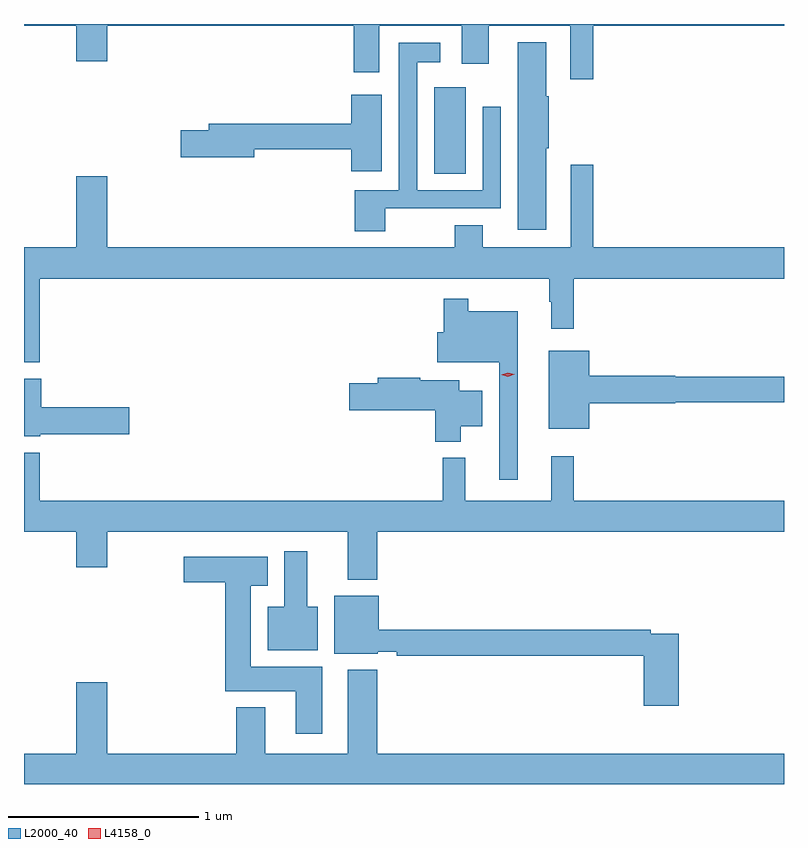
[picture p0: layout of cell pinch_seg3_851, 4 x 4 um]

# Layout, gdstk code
import gdstk
lib = gdstk.Library(unit=1e-6, precision=1e-09)
def R(c, l, rs):  # rectangles x0, y0, x1, y1
    for r in rs: c.add(gdstk.rectangle(r[:2], r[2:], *l))
def P(c, l, *ps):  # polygons
    for p in ps: c.add(gdstk.Polygon(p, *l))
L2000_40 = (2000, 40)
L4158_0 = (4158, 0)

pinch_seg3_851 = lib.new_cell('pinch_seg3_851')
R(pinch_seg3_851, L2000_40, [(694.364,685.483,694.531,685.939)])
P(pinch_seg3_851, L2000_40, [(695.203,686.264),(696.206,686.264),(696.206,686.272),(692.206,686.272),(692.206,686.264),(692.48,686.264),(692.48,686.076),(692.644,686.076),(692.644,686.264),(693.941,686.264),(693.941,686.019),(694.075,686.019),(694.075,686.264),(694.511,686.264),(694.511,686.064),(694.651,686.064),(694.651,686.264),(695.081,686.264),(695.081,685.98),(695.203,685.98)],
  [(694.954,685.618),(694.967,685.618),(694.967,685.892),(694.954,685.892),(694.954,686.176),(694.805,686.176),(694.805,685.188),(694.954,685.188)],
  [(694.107,685.301),(694.372,685.301),(694.372,685.302),(694.716,685.302),(694.716,685.837),(694.62,685.837),(694.62,685.398),(694.275,685.398),(694.275,686.072),(694.396,686.072),(694.396,686.173),(694.179,686.173),(694.179,685.398),(693.947,685.398),(693.947,685.182),(694.107,685.182)],
  [(694.09,685.9),(693.929,685.9),(693.929,685.748),(693.179,685.748),(693.179,685.712),(693.03,685.712),(693.03,685.57),(693.418,685.57),(693.418,685.612),(693.929,685.612),(693.929,685.497),(694.09,685.497)],
  [(692.288,684.932),(694.971,684.932),(694.971,684.809),(694.982,684.809),(694.982,684.669),(695.099,684.669),(695.099,684.932),(696.206,684.932),(696.206,685.096),(695.201,685.096),(695.201,685.531),(695.084,685.531),(695.084,685.096),(694.621,685.096),(694.621,685.213),(694.474,685.213),(694.474,685.096),(692.644,685.096),(692.644,685.471),(692.48,685.471),(692.48,685.096),(692.206,685.096),(692.206,684.491),(692.288,684.491)],
  [(694.804,684.76),(694.543,684.76),(694.543,684.826),(694.414,684.826),(694.414,684.649),(694.38,684.649),(694.38,684.491),(694.707,684.491),(694.707,683.874),(694.804,683.874)],
  [(695.182,684.275),(695.634,684.275),(695.634,684.28),(696.206,684.28),(696.206,684.416),(695.634,684.416),(695.634,684.422),(695.182,684.422),(695.182,684.553),(694.967,684.553),(694.967,684.143),(695.182,684.143)],
  [(694.504,684.155),(694.618,684.155),(694.618,684.343),(694.498,684.343),(694.498,684.397),(694.292,684.397),(694.292,684.41),(694.067,684.41),(694.067,684.38),(693.918,684.38),(693.918,684.238),(694.37,684.238),(694.37,684.074),(694.504,684.074)],
  [(692.292,684.112),(692.761,684.112),(692.761,684.254),(692.296,684.254),(692.296,684.406),(692.206,684.406),(692.206,684.101),(692.292,684.101)],
  [(694.064,683.6),(696.206,683.6),(696.206,683.764),(695.099,683.764),(695.099,683.998),(694.982,683.998),(694.982,683.764),(694.529,683.764),(694.529,683.989),(694.411,683.989),(694.411,683.764),(692.288,683.764),(692.288,684.016),(692.206,684.016),(692.206,683.6),(692.48,683.6),(692.48,683.412),(692.644,683.412),(692.644,683.6),(693.911,683.6),(693.911,683.348),(694.064,683.348)],
  [(693.751,683.206),(693.697,683.206),(693.697,683.497),(693.575,683.497),(693.575,683.206),(693.488,683.206),(693.488,682.976),(693.751,682.976)],
  [(693.775,682.888),(693.4,682.888),(693.4,683.315),(693.49,683.315),(693.49,683.467),(693.048,683.467),(693.048,683.333),(693.266,683.333),(693.266,682.76),(693.635,682.76),(693.635,682.536),(693.775,682.536)],
  [(695.651,683.064),(695.504,683.064),(695.504,683.084),(694.072,683.084),(694.072,683.263),(693.839,683.263),(693.839,682.958),(694.068,682.958),(694.068,682.968),(694.168,682.968),(694.168,682.948),(695.468,682.948),(695.468,682.683),(695.651,682.683)],
  [(696.206,682.432),(694.064,682.432),(694.064,682.873),(693.911,682.873),(693.911,682.432),(693.475,682.432),(693.475,682.675),(693.323,682.675),(693.323,682.432),(692.644,682.432),(692.644,682.807),(692.48,682.807),(692.48,682.432),(692.206,682.432),(692.206,682.272),(696.206,682.272)])
P(pinch_seg3_851, L4158_0, [(694.753,684.416),(694.718,684.425),(694.718,684.425),(694.718,684.425),(694.753,684.436),(694.788,684.428),(694.788,684.428),(694.788,684.428)])

lib.write_gds('pinch_seg3_851.gds')
